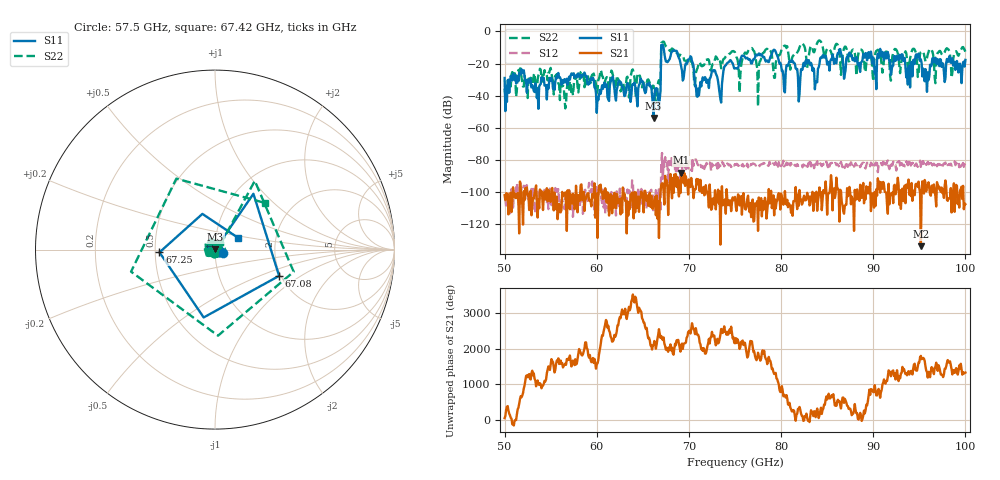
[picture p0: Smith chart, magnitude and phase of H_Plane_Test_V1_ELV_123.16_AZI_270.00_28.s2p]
! 11/27/2026 8:19:50 AM
! C:\ANRITSUVNA\TEMP\TEMP.S2P
! CHANNEL.1
! TR.MEASUREMENT
! RAW.DATA
# HZ S RI R 50.0
! FREQ.HZ  S11RE  S11IM  S21RE  S21IM  S12RE  S12IM  S22RE  S22IM
!; PortSelection: Port_12
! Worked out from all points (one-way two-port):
!   601 points, 50 GHz to 100 GHz, reference 50 ohm
!   highest |S21| = -88.14 dB at 69.17 GHz (marker M1); lowest = -134.0 dB at 95.17 GHz (marker M2)
!   lowest |S11| = -53.9 dB at 66.17 GHz (marker M3), VSWR 1.00, Z = 50.1 + j0.151 ohm
!   |S11| at or under -10 dB: start of sweep to 67 GHz; 67.24 GHz to end of sweep
!   |S22| runs from -48.0 to -5.6 dB; largest |S21 - S12| = 0.00016
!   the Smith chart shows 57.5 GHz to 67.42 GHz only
!   S11 on the Smith chart (normalised r, x): 57.5 GHz: 1.09, -0.05; 67.08 GHz: 1.96, -0.67; 67.25 GHz: 0.53, -0.02; 67.42 GHz: 1.29, +0.17
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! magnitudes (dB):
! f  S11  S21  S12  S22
! 50 GHz  -29.0  -102.2  -104.1  -35.7
! 51.67 GHz  -26.2  -93.7  -107.7  -23.1
! 57.5 GHz  -26.1  -102.8  -103.7  -34.4
! 58.42 GHz  -27.1  -105.2  -98.8  -24.7
! 60.17 GHz  -42.8  -102.9  -100.7  -30.2
! 66.17 GHz  -53.9  -107.7  -113.3  -33.9
! 66.67 GHz  -41.8  -105.9  -106.3  -31.5
! 67.08 GHz  -8.3  -94.7  -75.9  -6.8
! 67.25 GHz  -10.2  -99.6  -80.9  -6.3
! 67.42 GHz  -16.7  -90.1  -78.5  -8.4
! 69.17 GHz  -22.0  -88.1  -81.3  -14.8
! 70.25 GHz  -16.0  -91.4  -86.3  -18.8
! 70.92 GHz  -40.8  -95.4  -82.7  -23.1
! 75 GHz  -23.1  -103.2  -82.8  -13.0
! 77.58 GHz  -13.8  -103.6  -83.8  -21.9
! 78.5 GHz  -18.2  -111.6  -84.2  -10.8
! 79.33 GHz  -11.7  -104.7  -82.5  -28.8
! 80.25 GHz  -27.9  -108.1  -80.7  -9.3
! 83.42 GHz  -24.6  -100.1  -81.8  -10.9
! 91.67 GHz  -16.7  -95.0  -84.1  -15.3
! 95.17 GHz  -17.3  -134.0  -84.4  -12.8
! 100 GHz  -17.8  -107.8  -83.7  -12.6
